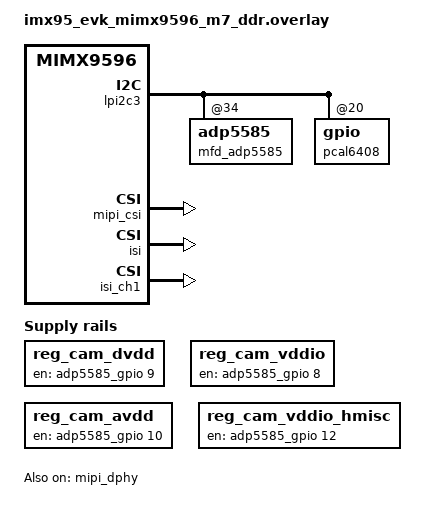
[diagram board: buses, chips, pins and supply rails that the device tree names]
/*
 * Copyright 2026 NXP
 * SPDX-License-Identifier: Apache-2.0
 */

#include <zephyr/dt-bindings/gpio/gpio.h>
#include <zephyr/dt-bindings/video/video-interfaces.h>

/ {
	chosen {
		/* Use ISI channel1 as capture device for this sample */
		zephyr,camera = &isi_ch1;
	};

	/* Camera power regulators (controlled via ADP5585 GPIO expander) */
	reg_cam_dvdd: regulator-cam-dvdd {
		compatible = "regulator-fixed";
		regulator-name = "CAM_DVDD_1V2";
		enable-gpios = <&adp5585_gpio 9 GPIO_ACTIVE_HIGH>;
		status = "okay";
	};

	reg_cam_vddio: regulator-cam-vddio {
		compatible = "regulator-fixed";
		regulator-name = "CAM_VDDIO_1V8";
		enable-gpios = <&adp5585_gpio 8 GPIO_ACTIVE_HIGH>;
		status = "okay";
	};

	reg_cam_avdd: regulator-cam-avdd {
		compatible = "regulator-fixed";
		regulator-name = "CAM_AVDD_2V8";
		enable-gpios = <&adp5585_gpio 10 GPIO_ACTIVE_HIGH>;
		status = "okay";
	};

	reg_cam_vddio_hmisc: regulator-cam-vddio-hmisc {
		compatible = "regulator-fixed";
		regulator-name = "CAM_VDDIO_HMISC_1V8";
		enable-gpios = <&adp5585_gpio 12 GPIO_ACTIVE_HIGH>;
		status = "okay";
	};
};

/*
 * Camera HW on i.MX95 EVK lives on LPI2C3.
 * The AP1302 device node itself is provided by the camera shield.
 */
&lpi2c3 {
	status = "okay";
	pinctrl-0 = <&lpi2c3_default>;
	pinctrl-names = "default";

	mfd_adp5585: adp5585@34 {
		status = "okay";

		adp5585_gpio: adp5585_gpio {
			status = "okay";
		};
	};

	pcal6408: gpio@20 {
		status = "okay";
	};
};

/* Apply board-specific wiring and resources to the shield-provided AP1302 */
&ap1302 {
	power-supplies = <&reg_cam_dvdd>,
			 <&reg_cam_vddio>,
			 <&reg_cam_avdd>,
			 <&reg_cam_vddio_hmisc>;
	clock-names = "mclk";
	clocks = <&scmi_clk IMX95_CLK_CCMCKO1>;
	pinctrl-0 = <&cmmclk1_default>;
	pinctrl-names = "default";
};

&mipi_dphy {
	status = "okay";
};

&mipi_csi {
	data-lanes = <4>;
	status = "okay";

	ports {
		#address-cells = <1>;
		#size-cells = <0>;

		port@0 {
			reg = <0>;
			csi_ep_in: endpoint {
				remote-endpoint-label = "ap1302_ep_out";
				bus-type = <VIDEO_BUS_TYPE_CSI2_DPHY>;
				data-lanes = <1 2 3 4>;
			};
		};

		port@1 {
			reg = <1>;
			csi2rx_ep_out: endpoint {
				remote-endpoint-label = "isi_1_ep_in";
			};
		};
	};
};

&isi {
	status = "okay";
};

&isi_ch1 {
	status = "okay";

	ports {
		#address-cells = <1>;
		#size-cells = <0>;

		port@0 {
			reg = <0>;
			isi_1_ep_in: endpoint {
				remote-endpoint-label = "csi2rx_ep_out";
			};
		};
	};
};
